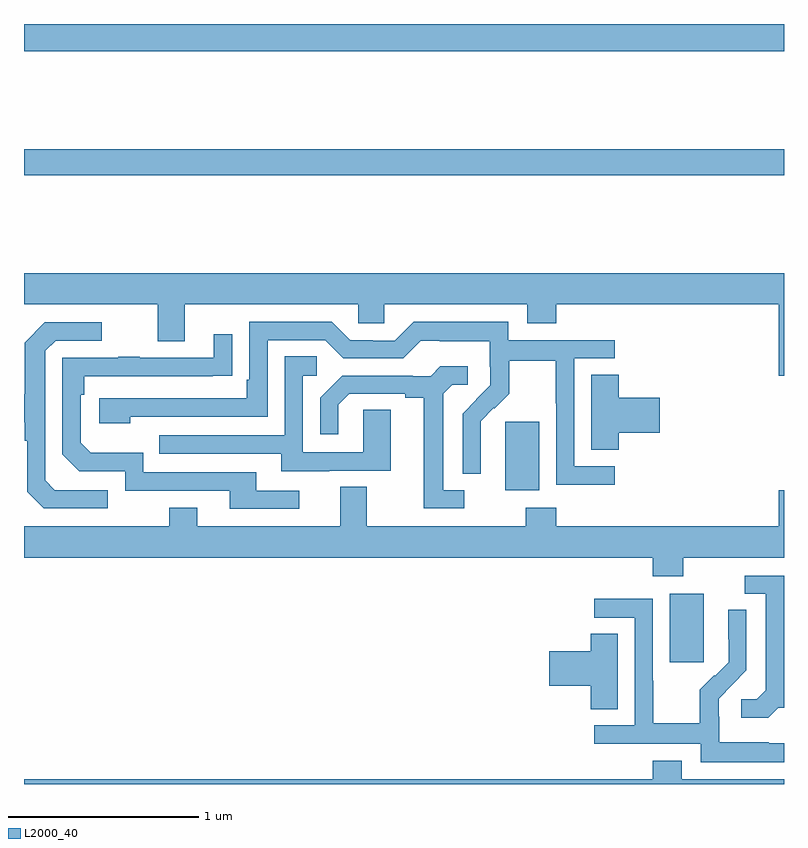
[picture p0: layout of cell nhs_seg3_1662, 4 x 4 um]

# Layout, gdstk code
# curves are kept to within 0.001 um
import gdstk
lib = gdstk.Library(unit=1e-6, precision=1e-09)
def R(c, l, rs):  # rectangles x0, y0, x1, y1
    for r in rs: c.add(gdstk.rectangle(r[:2], r[2:], *l))
def P(c, l, *ps):  # polygons
    for p in ps: c.add(gdstk.Polygon(p, *l))
L2000_40 = (2000, 40)

nhs_seg3_1662 = lib.new_cell('nhs_seg3_1662')
R(nhs_seg3_1662, L2000_40, [(200.399,691.041,200.578,691.402), (199.532,691.946,199.711,692.307), (197,693.604,201,693.74), (197,694.256,201,694.4)])
P(nhs_seg3_1662, L2000_40, [(201,693.088),(197,693.088),(197,692.924),(197.705,692.924),(197.705,692.73),(197.845,692.73),(197.845,692.924),(198.759,692.924),(198.759,692.826),(198.897,692.826),(198.897,692.924),(199.649,692.924),(199.649,692.825),(199.802,692.825),(199.802,692.924),(200.972,692.924),(200.972,692.55),(201,692.55)],
  [(200.11,692.073),(199.896,692.073),(199.896,692.64),(200.11,692.64),(200.11,692.736),(199.548,692.736),(199.548,692.833),(199.051,692.833),(198.951,692.733),(198.836,692.733),(198.836,692.736),(198.717,692.736),(198.621,692.832),(198.186,692.832),(198.186,692.527),(198.173,692.527),(198.173,692.43),(197.397,692.43),(197.397,692.3),(197.558,692.3),(197.558,692.334),(198.282,692.334),(198.282,692.736),(198.585,692.736),(198.681,692.64),(198.996,692.64),(199.089,692.733),(199.189,692.733),(199.189,692.729),(199.452,692.729),(199.452,692.595),(199.454,692.595),(199.454,692.498),(199.308,692.35),(199.308,692.032),(199.404,692.032),(199.403,692.309),(199.473,692.379),(199.476,692.376),(199.553,692.453),(199.553,692.628),(199.798,692.628),(199.798,692.404),(199.8,692.404),(199.8,691.975),(200.11,691.975)],
  [(197.44,691.947),(197.163,691.947),(197.112,691.998),(197.112,692.679),(197.166,692.733),(197.41,692.733),(197.41,692.829),(197.109,692.829),(197.004,692.723),(197.004,692.451),(197,692.451),(197,692.303),(197.004,692.303),(197.004,692.207),(197.016,692.207),(197.016,691.938),(197.103,691.851),(197.44,691.851)],
  [(198.448,691.944),(198.223,691.944),(198.223,692.04),(197.628,692.04),(197.628,692.143),(197.351,692.143),(197.298,692.196),(197.298,692.45),(197.318,692.45),(197.318,692.547),(198.095,692.548),(198.095,692.767),(197.999,692.767),(197.999,692.643),(197.609,692.643),(197.609,692.648),(197.497,692.648),(197.497,692.643),(197.202,692.643),(197.202,692.136),(197.292,692.046),(197.532,692.046),(197.532,691.944),(198.083,691.944),(198.083,691.848),(198.448,691.848)],
  [(198.607,692.049),(198.931,692.049),(198.931,692.369),(198.786,692.369),(198.786,692.145),(198.468,692.145),(198.468,692.55),(198.541,692.55),(198.541,692.651),(198.372,692.651),(198.372,692.235),(197.713,692.235),(197.713,692.139),(198.353,692.139),(198.353,692.045),(198.607,692.045)],
  [(199.318,691.947),(199.207,691.947),(199.207,692.455),(199.254,692.502),(199.336,692.502),(199.336,692.599),(199.192,692.599),(199.14,692.547),(199.046,692.547),(199.046,692.55),(198.674,692.55),(198.558,692.434),(198.558,692.241),(198.655,692.241),(198.655,692.397),(198.712,692.454),(199.007,692.454),(199.007,692.432),(199.103,692.432),(199.103,691.851),(199.318,691.851)],
  [(200.129,692.249),(200.347,692.249),(200.347,692.432),(200.129,692.432),(200.129,692.555),(199.985,692.555),(199.985,692.158),(200.129,692.158)],
  [(200.469,691.592),(201,691.592),(201,691.945),(200.972,691.945),(200.972,691.756),(199.802,691.756),(199.802,691.855),(199.642,691.855),(199.642,691.756),(198.805,691.756),(198.805,691.964),(198.665,691.964),(198.665,691.756),(197.911,691.756),(197.911,691.855),(197.764,691.855),(197.764,691.756),(197,691.756),(197,691.592),(200.309,691.592),(200.309,691.493),(200.469,691.493)],
  [(200.97,690.801),(201,690.801),(201,691.497),(200.793,691.497),(200.793,691.401),(200.903,691.401),(200.903,690.893),(200.856,690.846),(200.775,690.846),(200.775,690.749),(200.918,690.749)],
  [(201,690.615),(200.921,690.615),(200.921,690.619),(200.658,690.619),(200.658,690.753),(200.656,690.753),(200.656,690.85),(200.802,690.998),(200.802,691.316),(200.706,691.316),(200.706,691.162),(200.708,691.162),(200.708,691.04),(200.637,690.969),(200.634,690.972),(200.557,690.895),(200.557,690.721),(200.313,690.721),(200.313,690.944),(200.31,690.944),(200.31,691.374),(200.001,691.374),(200.001,691.275),(200.214,691.275),(200.214,690.708),(200.001,690.708),(200.001,690.612),(200.562,690.612),(200.562,690.515),(201,690.515)],
  [(200.125,691.19),(199.982,691.19),(199.982,691.1),(199.764,691.1),(199.764,690.917),(199.982,690.917),(199.982,690.793),(200.125,690.793)],
  [(201,690.424),(200.461,690.424),(200.461,690.523),(200.309,690.523),(200.309,690.424),(197,690.424),(197,690.4),(201,690.4)])

lib.write_gds('nhs_seg3_1662.gds')
